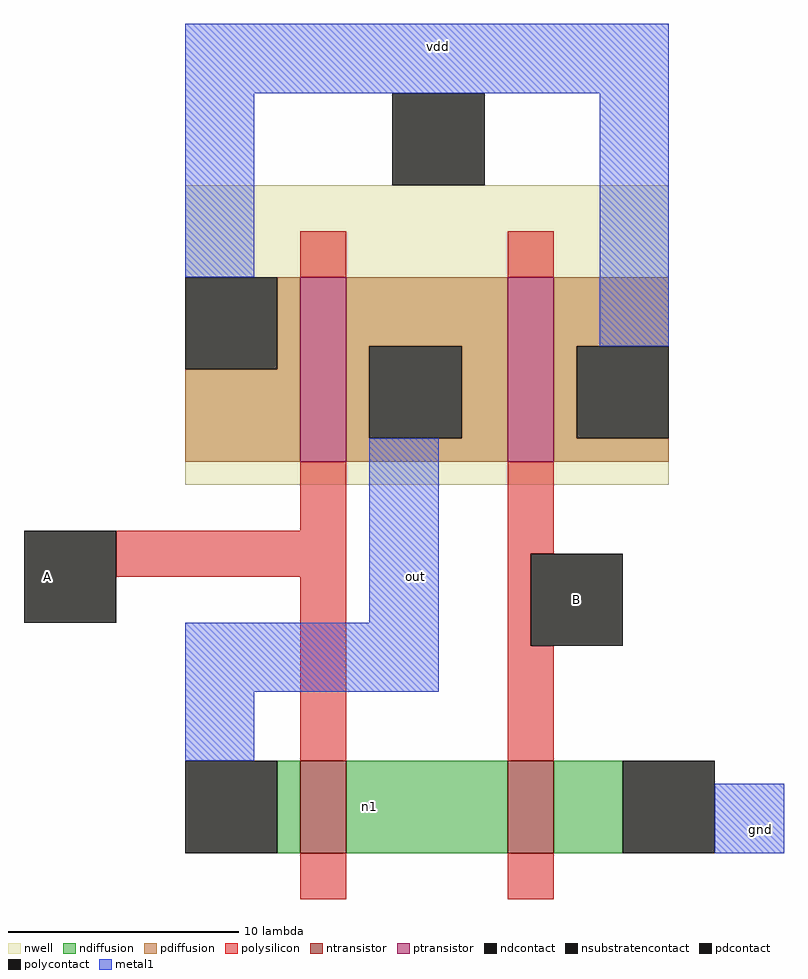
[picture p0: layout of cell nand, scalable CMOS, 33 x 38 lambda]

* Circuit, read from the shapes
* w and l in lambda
.subckt nand A B gnd n1 out vdd
M1 n1 A out VSUBS nfet w=4 l=2
M2 gnd B n1 VSUBS nfet w=4 l=2
M3 out A vdd n2 pfet w=8 l=2
M4 vdd B out n2 pfet w=8 l=2
.ends

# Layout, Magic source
magic
tech scmos
<< nwell >>
rect 11 16 32 29
<< polysilicon >>
rect 16 25 18 27
rect 25 25 27 27
rect 16 14 18 17
rect 8 12 18 14
rect 16 4 18 12
rect 25 13 27 17
rect 25 9 26 13
rect 25 4 27 9
rect 16 -2 18 0
rect 25 -2 27 0
<< ndiffusion >>
rect 15 0 16 4
rect 18 0 25 4
rect 27 0 30 4
<< pdiffusion >>
rect 15 21 16 25
rect 11 17 16 21
rect 18 22 25 25
rect 18 18 19 22
rect 23 18 25 22
rect 18 17 25 18
rect 27 22 32 25
rect 27 18 28 22
rect 27 17 32 18
<< metal1 >>
rect 11 33 32 36
rect 11 25 14 33
rect 29 22 32 33
rect 19 10 22 18
rect 11 7 22 10
rect 11 4 14 7
rect 34 0 37 3
<< ntransistor >>
rect 16 0 18 4
rect 25 0 27 4
<< ptransistor >>
rect 16 17 18 25
rect 25 17 27 25
<< polycontact >>
rect 4 10 8 14
rect 26 9 30 13
<< ndcontact >>
rect 11 0 15 4
rect 30 0 34 4
<< pdcontact >>
rect 11 21 15 25
rect 19 18 23 22
rect 28 18 32 22
<< nsubstratencontact >>
rect 20 29 24 33
<< labels >>
rlabel metal1 22 35 22 35 5 vdd
rlabel ndiffusion 19 2 19 2 1 n1
rlabel metal1 36 1 36 1 8 gnd
rlabel polycontact 5 12 5 12 3 A
rlabel polycontact 28 11 28 11 1 B
rlabel metal1 21 12 21 12 1 out
<< end >>
